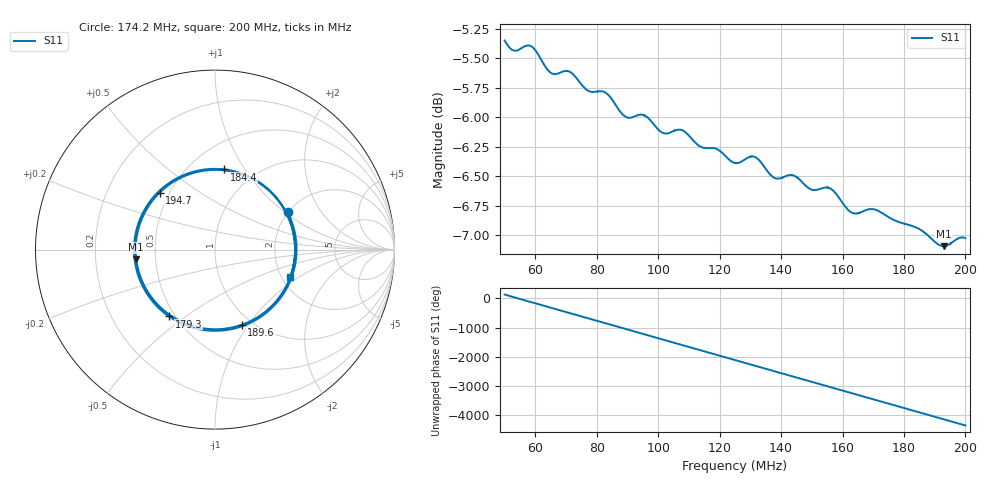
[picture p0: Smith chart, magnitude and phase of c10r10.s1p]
! COPPER MOUNTAIN TECHNOLOGIES, PLANAR TR1300/1, 00071119, 20.2.2/1.0
! Date: 1/9/2024 7:17:29 PM
! Data: Format [Calibration Info]
! Freq  S11: Re/Im F1
# HZ S RI R 50
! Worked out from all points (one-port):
!   12288 points, 50 MHz to 200 MHz, reference 50 ohm
!   lowest |S11| = -7.1 dB at 193 MHz (marker M1), VSWR 2.58, Z = 19.4 - j2.57 ohm
!   |S11| at or under -10 dB: nowhere
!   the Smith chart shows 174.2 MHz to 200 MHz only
!   S11 on the Smith chart (normalised r, x): 174.2 MHz: 1.99, +1.05; 179.3 MHz: 0.46, -0.43; 184.4 MHz: 0.73, +0.81; 189.6 MHz: 0.89, -0.93; 194.7 MHz: 0.44, +0.35; 200 MHz: 2.21, -0.85
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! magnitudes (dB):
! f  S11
! 50 MHz  -5.4
! 53.15 MHz  -5.4
! 58.57 MHz  -5.4
! 64.78 MHz  -5.6
! 68.75 MHz  -5.6
! 71.69 MHz  -5.6
! 77.36 MHz  -5.8
! 82.97 MHz  -5.8
! 87.5 MHz  -5.9
! 95.63 MHz  -6.0
! 101.7 MHz  -6.1
! 106.3 MHz  -6.1
! 125 MHz  -6.4
! 131.1 MHz  -6.3
! 137.9 MHz  -6.5
! 143.8 MHz  -6.5
! 149.9 MHz  -6.6
! 156.3 MHz  -6.6
! 162.5 MHz  -6.8
! 174.2 MHz  -6.8
! 179.3 MHz  -6.9
! 181.3 MHz  -6.9
! 184.4 MHz  -6.9
! 189.6 MHz  -7.0
! 193 MHz  -7.1
! 194.7 MHz  -7.1
! 200 MHz  -7.0
! 200 MHz  -7.0
